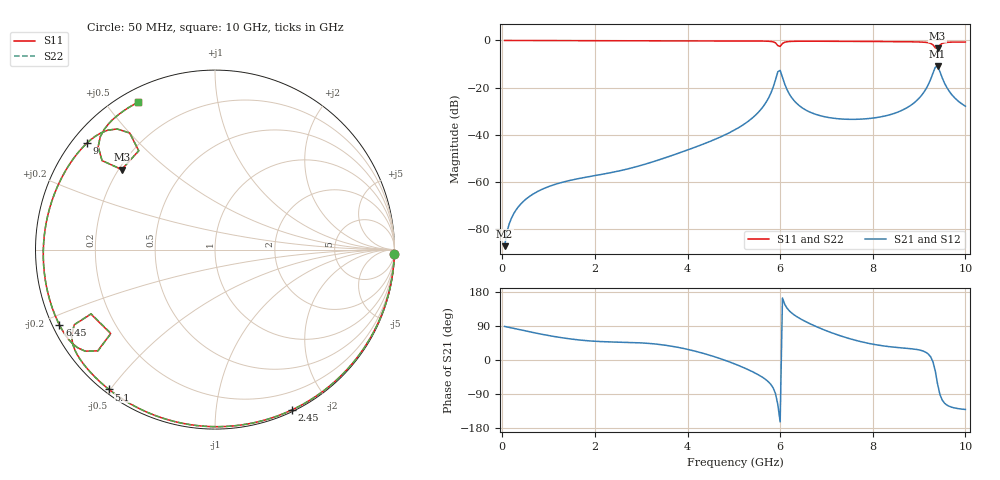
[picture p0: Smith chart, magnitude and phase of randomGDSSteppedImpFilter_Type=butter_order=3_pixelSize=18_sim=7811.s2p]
! freq	dB(S11)	phase(S11)	dB(S12)	phase(S12)
!  dB(S21)	phase(S21)	dB(S22)	phase(S22)
!S-par simulation data
#  GHz  S  DB  R 50
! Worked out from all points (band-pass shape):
!   200 points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, 50 MHz to 10 GHz, reference 50 ohm
!   highest |S21| = -11.05 dB at 9.4 GHz (marker M1); lowest = -87.5 dB at 50 MHz (marker M2)
!   |S21| within 3 dB of the highest: 5.939 GHz to 6.023 GHz (84.2 MHz wide, 1.41 % of centre); 9.297 GHz to 9.465 GHz (168.1 MHz wide, 1.79 % of centre)
!   lowest |S11| = -3.3 dB at 9.4 GHz (marker M3), VSWR 5.35, Z = 10.6 + j17.8 ohm
!   |S11| at or under -10 dB: nowhere
!   |S22| runs from -3.3 to 0.0 dB; largest |S21 - S12| = 0
!   S11 on the Smith chart (normalised r, x): 50 MHz: 0, -83; 2.45 GHz: 0.02, -1.58; 5.1 GHz: 0.01, -0.50; 6.45 GHz: 0.02, -0.23; 9 GHz: 0.04, +0.36; 10 GHz: 0.05, +0.60
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0.05  -0.00 -1.4  -87.45 88.5  -87.45 88.5  -0.00 -1.4
0.35  -0.01 -9.5  -70.64 80.6  -70.64 80.6  -0.01 -9.5
0.65  -0.02 -17.6  -65.48 72.8  -65.48 72.8  -0.02 -17.6
1.75  -0.06 -46.7  -58.34 51.8  -58.34 51.8  -0.06 -46.7
2.45  -0.08 -64.5  -55.78 47.3  -55.78 47.3  -0.08 -64.5
3.4  -0.11 -87.7  -50.65 40.9  -50.65 40.9  -0.11 -87.6
5.05  -0.19 -126.0  -37.69 -11.9  -37.69 -11.9  -0.19 -126.0
5.1  -0.20 -127.2  -37.12 -14.4  -37.12 -14.4  -0.20 -127.2
5.65  -0.28 -141.1  -27.65 -48.1  -27.65 -48.1  -0.28 -141.1
5.9  -1.02 -151.9  -16.69 -89.0  -16.69 -89.0  -1.02 -152.0
6  -2.54 -141.2  -12.71 -163.4  -12.71 -163.4  -2.57 -141.1
6.2  -0.44 -146.5  -22.83 129.4  -22.83 129.4  -0.44 -146.5
6.45  -0.33 -154.1  -28.28 107.8  -28.28 107.8  -0.33 -154.1
6.7  -0.33 -160.4  -30.91 92.5  -30.91 92.5  -0.33 -160.4
7.5  -0.38 -179.5  -33.54 56.3  -33.54 56.3  -0.38 -179.5
8.35  -0.48 159.2  -31.69 35.3  -31.69 35.3  -0.48 159.2
9  -0.65 140.3  -24.55 26.6  -24.55 26.6  -0.65 140.3
9.25  -1.25 129.1  -16.51 8.3  -16.51 8.3  -1.25 129.1
9.35  -3.15 127.6  -11.39 -29.1  -11.39 -29.1  -3.15 127.6
9.4  -3.28 139.4  -11.05 -63.9  -11.05 -63.9  -3.28 139.4
9.65  -0.75 130.5  -21.58 -122.2  -21.58 -122.2  -0.75 130.5
10  -0.67 117.7  -27.97 -130.6  -27.97 -130.6  -0.67 117.7
